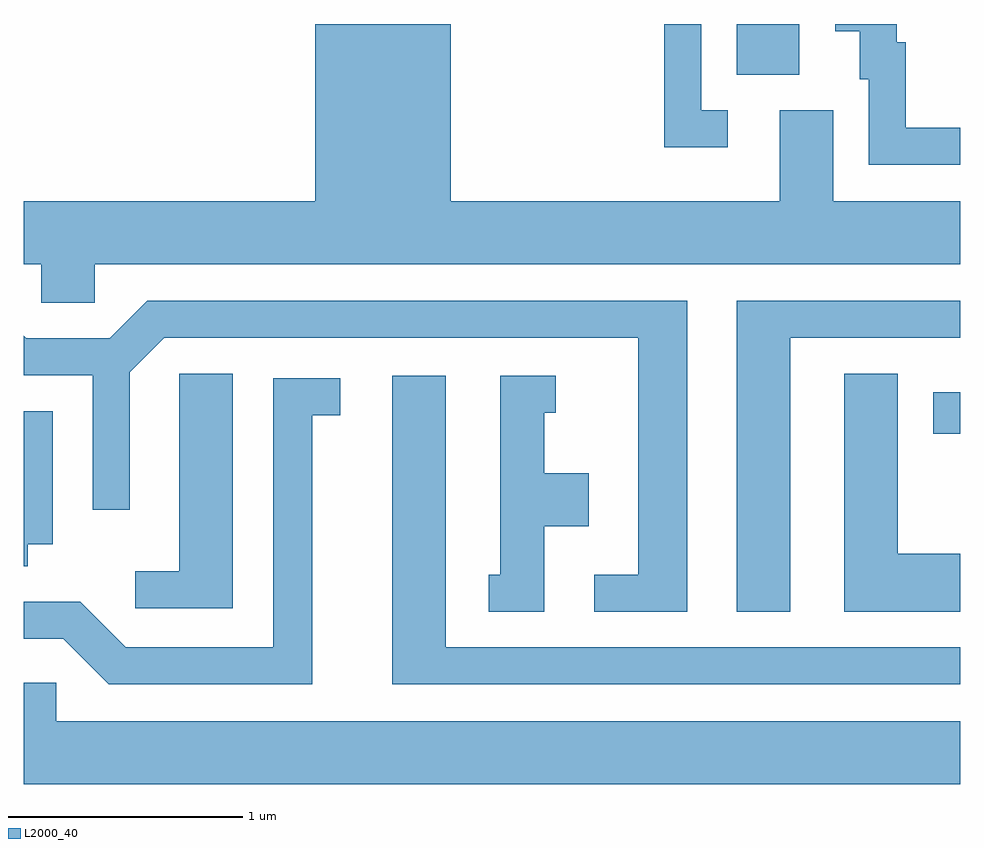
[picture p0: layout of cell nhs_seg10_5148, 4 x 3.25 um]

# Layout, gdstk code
import gdstk
lib = gdstk.Library(unit=1e-6, precision=1e-09)
def R(c, l, rs):  # rectangles x0, y0, x1, y1
    for r in rs: c.add(gdstk.rectangle(r[:2], r[2:], *l))
def P(c, l, *ps):  # polygons
    for p in ps: c.add(gdstk.Polygon(p, *l))
L2000_40 = (2000, 40)

nhs_seg10_5148 = lib.new_cell('nhs_seg10_5148')
R(nhs_seg10_5148, L2000_40, [(341.496,2088.771,341.611,2088.949), (340.656,2090.306,340.924,2090.522)])
P(nhs_seg10_5148, L2000_40, [(337.914,2089.496),(341.611,2089.496),(341.611,2089.764),(341.069,2089.764),(341.069,2090.154),(340.841,2090.154),(340.841,2089.764),(339.434,2089.764),(339.434,2090.522),(338.856,2090.522),(338.856,2089.764),(337.611,2089.764),(337.611,2089.496),(337.686,2089.496),(337.686,2089.331),(337.914,2089.331)],
  [(340.618,2090.154),(340.504,2090.154),(340.504,2090.522),(340.346,2090.522),(340.346,2089.996),(340.618,2089.996)],
  [(341.611,2090.079),(341.379,2090.079),(341.379,2090.444),(341.339,2090.444),(341.339,2090.522),(341.076,2090.522),(341.076,2090.491),(341.181,2090.491),(341.181,2090.286),(341.221,2090.286),(341.221,2089.921),(341.611,2089.921)],
  [(340.884,2089.181),(341.611,2089.181),(341.611,2089.339),(340.656,2089.339),(340.656,2088.011),(340.884,2088.011)],
  [(340.444,2089.339),(338.139,2089.339),(337.979,2089.179),(337.622,2089.179),(337.611,2089.19),(337.611,2089.021),(337.906,2089.021),(337.906,2088.448),(338.064,2088.448),(338.064,2089.034),(338.212,2089.181),(340.236,2089.181),(340.236,2088.169),(340.048,2088.169),(340.048,2088.011),(340.444,2088.011)],
  [(341.611,2088.259),(341.344,2088.259),(341.344,2089.029),(341.116,2089.029),(341.116,2088.011),(341.611,2088.011)],
  [(338.504,2089.029),(338.276,2089.029),(338.276,2088.184),(338.088,2088.184),(338.088,2088.026),(338.504,2088.026)],
  [(339.834,2088.376),(340.024,2088.376),(340.024,2088.604),(339.834,2088.604),(339.834,2088.861),(339.883,2088.861),(339.883,2089.019),(339.646,2089.019),(339.646,2088.169),(339.598,2088.169),(339.598,2088.011),(339.834,2088.011)],
  [(341.611,2087.859),(339.414,2087.859),(339.414,2089.019),(339.186,2089.019),(339.186,2087.701),(341.611,2087.701)],
  [(338.844,2088.851),(338.963,2088.851),(338.963,2089.009),(338.676,2089.009),(338.676,2087.859),(338.047,2087.859),(337.852,2088.054),(337.611,2088.054),(337.611,2087.896),(337.779,2087.896),(337.974,2087.701),(338.844,2087.701)],
  [(337.629,2088.301),(337.734,2088.301),(337.734,2088.869),(337.611,2088.869),(337.611,2088.206),(337.629,2088.206)],
  [(341.611,2087.544),(337.749,2087.544),(337.749,2087.709),(337.611,2087.709),(337.611,2087.276),(341.611,2087.276)])

lib.write_gds('nhs_seg10_5148.gds')
